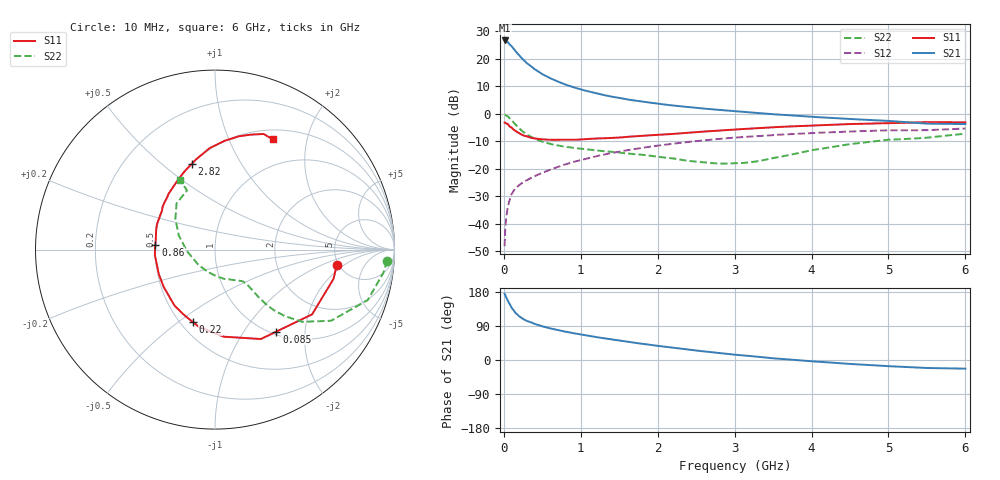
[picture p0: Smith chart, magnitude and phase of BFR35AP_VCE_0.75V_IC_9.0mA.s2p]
! Infineon Technologies  Discrete & RF Semiconductors
! BFR35AP
! VCE = 0.75 V,  IC =  9.0 mA
! Common Emitter S-Parameters:  Nov 2015
# GHz  S  MA  R  50
!  f  S11  S21  S12  S22
! GHz  MAG  ANG  MAG  ANG  MAG  ANG  MAG  ANG
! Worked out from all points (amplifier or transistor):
!   210 points, 10 MHz to 6 GHz, reference 50 ohm
!   highest |S21| = 26.6 dB at 10 MHz (marker M1)
!   |S21| within 3 dB of that: start of sweep to 126.1 MHz
!   unconditionally stable (mu >= 1): 469.1 MHz to end of sweep
!   at 185 MHz: K = 0.58, MSG = 24.0 dB, |S12| = -26.3 dB
!   at 1.52 GHz: K = 1.19, MAG = 7.0 dB, |S12| = -13.7 dB
!   at 6 GHz: K = 1.06, MAG = -0.6 dB, |S12| = -5.4 dB
!   S11 on the Smith chart (normalised r, x): 10 MHz: 4.80, -1.57; 85 MHz: 1.05, -1.42; 220 MHz: 0.58, -0.57; 860 MHz: 0.50, +0.03; 2.82 GHz: 0.50, +0.63; 6 GHz: 0.62, +1.47
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0.01  0.6839 -7.3  21.3 175.1  0.0039 85.9  0.9619 -3.7
0.02  0.6802 -13.9  21.06 170.1  0.0087 80.4  0.9479 -7.7
0.05  0.6503 -33.7  19.93 156.5  0.0195 74.6  0.896 -18.3
0.085  0.5705 -53.2  17.55 144.1  0.0298 66.2  0.795 -27.1
0.1  0.5601 -62.8  16.82 137.9  0.0343 64.1  0.7585 -31.5
0.15  0.4878 -84.2  13.69 124.4  0.044 57.5  0.6326 -39.5
0.2  0.4407 -101.5  11.38 115.2  0.0503 55.6  0.5378 -43.6
0.22  0.4228 -106.8  10.63 112.7  0.0527 55.3  0.5085 -44.5
0.26  0.3987 -117.4  9.289 107.2  0.0575 54.9  0.4546 -46.2
0.3  0.3852 -125.8  8.234 103.0  0.0618 55.4  0.4142 -47.0
0.4  0.3537 -143.8  6.413 95.3  0.0729 56.1  0.3506 -47.5
0.5  0.3418 -156.1  5.196 88.8  0.0838 57.4  0.3079 -47.3
0.6  0.3348 -165.7  4.407 83.5  0.0954 58.4  0.2809 -47.3
0.86  0.3336 175.2  3.155 72.6  0.1268 58.8  0.243 -48.3
1.02  0.3398 165.2  2.701 66.6  0.1455 58.4  0.2285 -50.0
1.4  0.3609 147.4  2.03 54.4  0.1917 55.5  0.2019 -57.3
2.02  0.4121 126.5  1.499 36.9  0.2636 48.4  0.1629 -76.5
2.82  0.4939 105.3  1.161 18.0  0.3487 37.6  0.1236 -124.5
3.1  0.523 100.0  1.077 12.3  0.374 33.3  0.1263 -147.3
4.1  0.6144 83.6  0.858 -4.7  0.4486 19.3  0.2267 154.9
5.1  0.6752 71.7  0.72 -17.2  0.4963 6.0  0.3393 126.6
6  0.6935 62.4  0.645 -22.8  0.535 -3.2  0.4315 116.7
